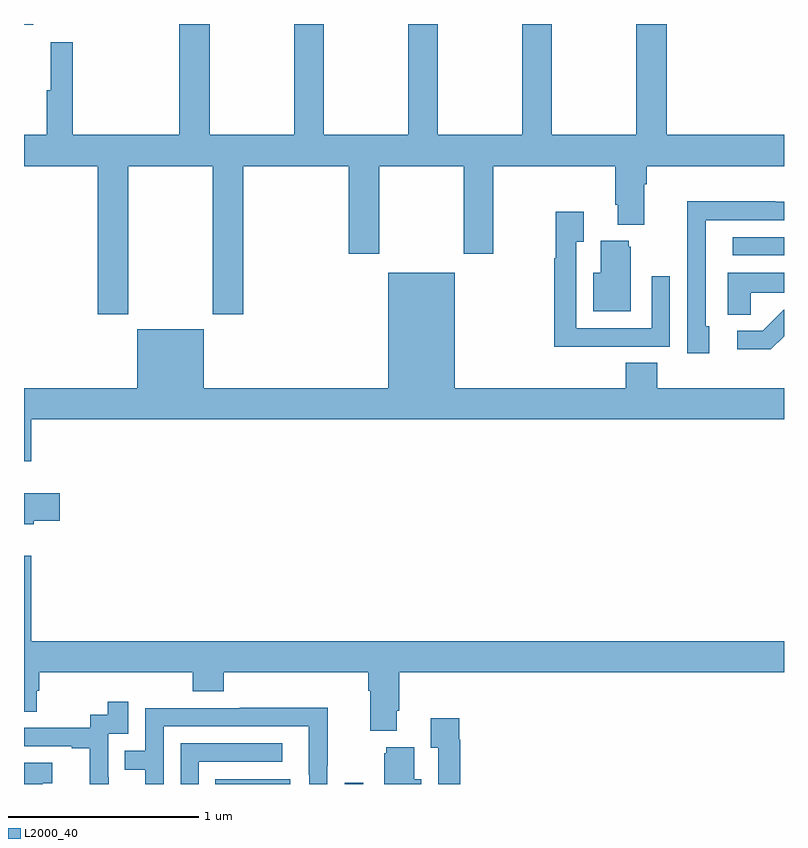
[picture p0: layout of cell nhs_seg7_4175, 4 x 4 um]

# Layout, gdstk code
import gdstk
lib = gdstk.Library(unit=1e-6, precision=1e-09)
def R(c, l, rs):  # rectangles x0, y0, x1, y1
    for r in rs: c.add(gdstk.rectangle(r[:2], r[2:], *l))
def P(c, l, *ps):  # polygons
    for p in ps: c.add(gdstk.Polygon(p, *l))
L2000_40 = (2000, 40)

nhs_seg7_4175 = lib.new_cell('nhs_seg7_4175')
R(nhs_seg7_4175, L2000_40, [(376.006,1028,376.402,1028.026), (376.689,1028,376.785,1028.007), (378.729,1030.782,379,1030.878), (375,1031.996,375.049,1032)])
P(nhs_seg7_4175, L2000_40, [(375.549,1031.252),(375.994,1031.252),(375.994,1030.473),(376.154,1030.473),(376.154,1031.252),(376.709,1031.252),(376.709,1030.791),(376.869,1030.791),(376.869,1031.252),(377.314,1031.252),(377.314,1030.791),(377.469,1030.791),(377.469,1031.252),(378.113,1031.252),(378.113,1031.05),(378.125,1031.05),(378.125,1030.943),(378.265,1030.943),(378.265,1031.156),(378.278,1031.156),(378.278,1031.252),(379,1031.252),(379,1031.416),(378.383,1031.416),(378.383,1032),(378.223,1032),(378.223,1031.416),(377.778,1031.416),(377.778,1032),(377.623,1032),(377.623,1031.416),(377.178,1031.416),(377.178,1032),(377.023,1032),(377.023,1031.416),(376.578,1031.416),(376.578,1032),(376.423,1032),(376.423,1031.416),(375.978,1031.416),(375.978,1032),(375.818,1032),(375.818,1031.416),(375.257,1031.416),(375.257,1031.905),(375.14,1031.905),(375.14,1031.652),(375.121,1031.652),(375.121,1031.416),(375,1031.416),(375,1031.252),(375.389,1031.252),(375.389,1030.473),(375.549,1030.473)],
  [(378.607,1030.41),(378.588,1030.41),(378.588,1030.968),(379,1030.968),(379,1031.064),(378.953,1031.064),(378.953,1031.066),(378.49,1031.066),(378.49,1030.759),(378.492,1030.759),(378.492,1030.266),(378.607,1030.266)],
  [(378.083,1030.302),(378.399,1030.302),(378.399,1030.672),(378.303,1030.672),(378.303,1030.398),(377.907,1030.398),(377.907,1030.855),(377.947,1030.855),(377.947,1031.011),(377.799,1031.011),(377.799,1030.766),(377.791,1030.766),(377.791,1030.301),(378.083,1030.301)],
  [(378.193,1030.827),(378.182,1030.827),(378.182,1030.858),(378.035,1030.858),(378.035,1030.69),(377.996,1030.69),(377.996,1030.487),(378.193,1030.487)],
  [(375.037,1029.92),(379,1029.92),(379,1030.084),(378.332,1030.084),(378.332,1030.217),(378.167,1030.217),(378.167,1030.084),(377.266,1030.084),(377.266,1030.69),(376.916,1030.69),(376.916,1030.084),(375.946,1030.084),(375.946,1030.393),(375.596,1030.393),(375.596,1030.084),(375,1030.084),(375,1029.699),(375.037,1029.699)],
  [(378.825,1030.586),(379,1030.586),(379,1030.69),(378.704,1030.69),(378.704,1030.471),(378.825,1030.471)],
  [(379,1030.357),(379,1030.497),(378.998,1030.497),(378.887,1030.386),(378.753,1030.386),(378.753,1030.289),(378.931,1030.289)],
  [(375.052,1029.386),(375.187,1029.386),(375.187,1029.529),(375,1029.529),(375,1029.368),(375.052,1029.368)],
  [(376.963,1028.386),(376.976,1028.386),(376.976,1028.588),(379,1028.588),(379,1028.752),(375.037,1028.752),(375.037,1029.202),(375,1029.202),(375,1028.38),(375.067,1028.38),(375.067,1028.49),(375.08,1028.49),(375.08,1028.588),(375.887,1028.588),(375.887,1028.489),(376.052,1028.489),(376.052,1028.588),(376.811,1028.588),(376.811,1028.492),(376.823,1028.492),(376.823,1028.279),(376.963,1028.279)],
  [(375.446,1028.036),(375.444,1028.036),(375.444,1028.265),(375.549,1028.265),(375.549,1028.434),(375.441,1028.434),(375.441,1028.364),(375.348,1028.364),(375.348,1028.295),(375,1028.295),(375,1028.199),(375.251,1028.199),(375.251,1028.187),(375.347,1028.187),(375.347,1028),(375.446,1028)],
  [(375.735,1028.304),(376.499,1028.304),(376.499,1028.05),(376.5,1028.05),(376.5,1028),(376.596,1028),(376.596,1028.095),(376.599,1028.095),(376.599,1028.402),(376.135,1028.402),(376.135,1028.4),(375.639,1028.4),(375.639,1028.175),(375.529,1028.175),(375.529,1028.074),(375.639,1028.074),(375.639,1028),(375.735,1028)],
  [(377.297,1028.234),(377.29,1028.234),(377.29,1028.347),(377.141,1028.347),(377.141,1028.191),(377.181,1028.191),(377.181,1028),(377.297,1028)],
  [(375.921,1028.118),(376.36,1028.118),(376.36,1028.214),(375.825,1028.214),(375.825,1028),(375.921,1028)],
  [(377.092,1028.026),(377.053,1028.026),(377.053,1028.194),(376.907,1028.194),(376.907,1028.163),(376.895,1028.163),(376.895,1028),(377.092,1028)],
  [(375.099,1028.003),(375.148,1028.003),(375.148,1028.113),(375,1028.113),(375,1028),(375.099,1028)])

lib.write_gds('nhs_seg7_4175.gds')
